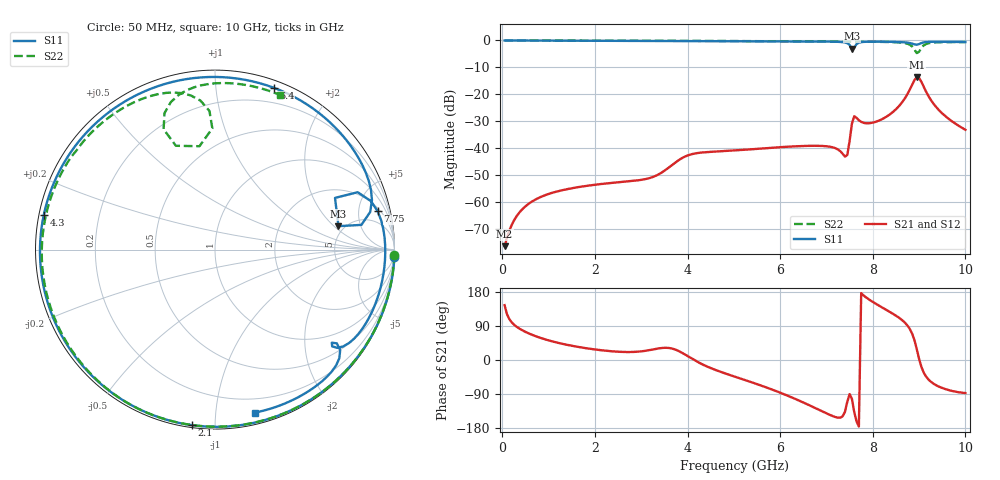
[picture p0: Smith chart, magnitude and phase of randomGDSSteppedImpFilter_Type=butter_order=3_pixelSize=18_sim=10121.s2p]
! freq	dB(S11)	phase(S11)	dB(S12)	phase(S12)
!  dB(S21)	phase(S21)	dB(S22)	phase(S22)
!S-par simulation data
#  GHz  S  DB  R 50
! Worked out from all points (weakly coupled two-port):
!   200 points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, 50 MHz to 10 GHz, reference 50 ohm
!   highest |S21| = -13.63 dB at 8.95 GHz (marker M1); lowest = -76.5 dB at 50 MHz (marker M2)
!   lowest |S11| = -3.1 dB at 7.55 GHz (marker M3), VSWR 5.67, Z = 223 + j114 ohm
!   |S11| at or under -10 dB: nowhere
!   |S22| runs from -4.7 to 0.0 dB; largest |S21 - S12| = 0
!   S11 on the Smith chart (normalised r, x): 50 MHz: 0, -47; 2.1 GHz: 0.01, -0.88; 4.3 GHz: 0.01, +0.10; 6.4 GHz: 0.06, +1.42; 7.75 GHz: 2.44, +7.84; 10 GHz: 0.09, -1.27
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0.05  -0.00 -2.4  -76.47 144.7  -76.47 144.7  -0.00 -1.6
0.25  -0.01 -12.1  -66.98 93.6  -66.98 93.6  -0.01 -7.9
0.55  -0.03 -26.5  -60.96 71.4  -60.96 71.4  -0.02 -17.3
1.75  -0.10 -82.0  -54.23 32.2  -54.23 32.2  -0.07 -54.0
2.1  -0.12 -97.5  -53.43 26.3  -53.43 26.3  -0.08 -64.3
3.4  -0.18 -153.0  -49.54 31.0  -49.54 31.0  -0.13 -100.9
4.3  -0.24 168.5  -41.67 -10.2  -41.67 -10.2  -0.15 -124.9
5.05  -0.28 134.9  -40.86 -45.2  -40.86 -45.2  -0.21 -144.6
5.75  -0.32 101.9  -39.97 -74.5  -39.97 -74.5  -0.26 -163.2
6.4  -0.36 70.1  -39.30 -106.6  -39.30 -106.6  -0.31 179.1
6.7  -0.38 55.3  -39.16 -123.4  -39.16 -123.4  -0.34 170.6
7.4  -0.75 17.5  -43.20 -136.6  -43.20 -136.6  -0.40 149.9
7.45  -1.01 13.7  -42.55 -110.0  -42.55 -110.0  -0.41 148.4
7.55  -3.10 10.8  -30.92 -102.8  -30.92 -102.8  -0.44 145.2
7.65  -1.34 21.9  -28.75 -162.4  -28.75 -162.4  -0.45 142.3
7.75  -0.62 13.3  -30.27 176.4  -30.27 176.4  -0.45 139.1
8.35  -0.50 -17.3  -27.71 128.2  -27.71 128.2  -0.58 118.1
8.75  -0.82 -34.9  -19.90 90.8  -19.90 90.8  -1.21 98.9
8.95  -1.59 -38.6  -13.63 28.7  -13.63 28.7  -4.69 98.5
9.1  -0.72 -41.2  -17.23 -33.2  -17.23 -33.2  -1.82 110.3
9.45  -0.49 -56.7  -26.28 -71.4  -26.28 -71.4  -0.66 89.9
10  -0.58 -76.3  -33.20 -87.3  -33.20 -87.3  -0.59 67.2
